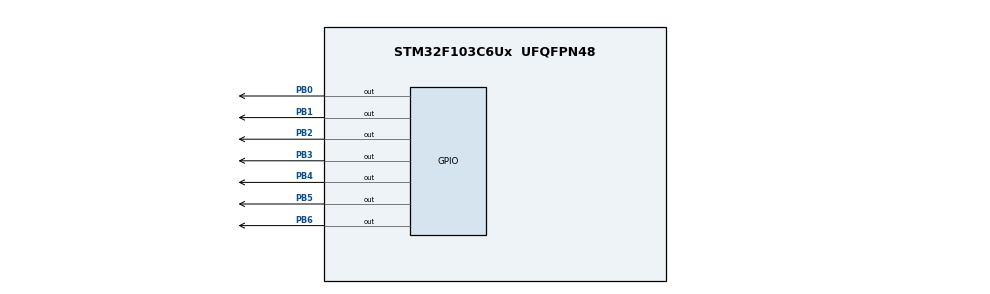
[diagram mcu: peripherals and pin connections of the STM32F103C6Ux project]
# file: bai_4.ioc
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Mcu.Family=STM32F1
Mcu.Name=STM32F103C6Ux
Mcu.Package=UFQFPN48
NVIC.PriorityGroup=NVIC_PRIORITYGROUP_4
PB0.Signal=GPIO_Output
PB1.Signal=GPIO_Output
PB2.Signal=GPIO_Output
PB3.Signal=GPIO_Output
PB4.Signal=GPIO_Output
PB5.Signal=GPIO_Output
PB6.Signal=GPIO_Output
ProjectManager.HeapSize=0x200
ProjectManager.StackSize=0x400
ProjectManager.TargetToolchain=STM32CubeIDE
RCC.APB1Freq_Value=8000000
RCC.APB2Freq_Value=8000000
VP_SYS_VS_ND.Mode=No_Debug
board=custom

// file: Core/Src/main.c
/* USER CODE BEGIN Header */
/**
  ******************************************************************************
  * @file           : main.c
  * @brief          : Main program body
  ******************************************************************************
  * @attention
  *
  * <h2><center>&copy; Copyright (c) 2024 STMicroelectronics.
  * All rights reserved.</center></h2>
  *
  * This software component is licensed by ST under BSD 3-Clause license,
  * the "License"; You may not use this file except in compliance with the
  * License. You may obtain a copy of the License at:
  *                        opensource.org/licenses/BSD-3-Clause
  *
  ******************************************************************************
  */
/* USER CODE END Header */
#include "main.h"

void SystemClock_Config(void);
static void MX_GPIO_Init(void);

int main(void)
{

  /* MCU Configuration--------------------------------------------------------*/

  /* Reset of all peripherals, Initializes the Flash interface and the Systick. */
  HAL_Init();

  /* Configure the system clock */
  SystemClock_Config();

  /* Initialize all configured peripherals */
  MX_GPIO_Init();

  /* Infinite loop */
  /* USER CODE BEGIN WHILE */
  int counter = 0;
     void display7SEG(int num)
     {
   	  if(num == 0)
   	  {
   		  HAL_GPIO_WritePin(GPIOB, GPIO_PIN_0, 0);
   		  HAL_GPIO_WritePin(GPIOB, GPIO_PIN_1, 0);
   		  HAL_GPIO_WritePin(GPIOB, GPIO_PIN_2, 0);
   		  HAL_GPIO_WritePin(GPIOB, GPIO_PIN_3, 0);
   		  HAL_GPIO_WritePin(GPIOB, GPIO_PIN_4, 0);
   		  HAL_GPIO_WritePin(GPIOB, GPIO_PIN_5, 0);
   		  HAL_GPIO_WritePin(GPIOB, GPIO_PIN_6, 1);
   	  }
   	  if(num == 1)
   	  {
   		  	  	  HAL_GPIO_WritePin(GPIOB, GPIO_PIN_0, 1);
   		 		  HAL_GPIO_WritePin(GPIOB, GPIO_PIN_1, 0);
   		 		  HAL_GPIO_WritePin(GPIOB, GPIO_PIN_2, 0);
   		 		  HAL_GPIO_WritePin(GPIOB, GPIO_PIN_3, 1);
   		 		  HAL_GPIO_WritePin(GPIOB, GPIO_PIN_4, 1);
   		 		  HAL_GPIO_WritePin(GPIOB, GPIO_PIN_5, 1);
   		 		  HAL_GPIO_WritePin(GPIOB, GPIO_PIN_6, 1);
   	  }
   	  if(num == 2)
   	  	  {
   	  		  HAL_GPIO_WritePin(GPIOB, GPIO_PIN_0, 0);
   	  		  HAL_GPIO_WritePin(GPIOB, GPIO_PIN_1, 0);
   	  		  HAL_GPIO_WritePin(GPIOB, GPIO_PIN_2, 1);
   	  		  HAL_GPIO_WritePin(GPIOB, GPIO_PIN_3, 0);
   	  		  HAL_GPIO_WritePin(GPIOB, GPIO_PIN_4, 0);
   	  		  HAL_GPIO_WritePin(GPIOB, GPIO_PIN_5, 1);
   	  		  HAL_GPIO_WritePin(GPIOB, GPIO_PIN_6, 0);
   	  	  }
   	  if(num == 3)
   	  	  {
   	  		  HAL_GPIO_WritePin(GPIOB, GPIO_PIN_0, 0);
   	  		  HAL_GPIO_WritePin(GPIOB, GPIO_PIN_1, 0);
   	  		  HAL_GPIO_WritePin(GPIOB, GPIO_PIN_2, 0);
   	  		  HAL_GPIO_WritePin(GPIOB, GPIO_PIN_3, 0);
   	  		  HAL_GPIO_WritePin(GPIOB, GPIO_PIN_4, 1);
   	  		  HAL_GPIO_WritePin(GPIOB, GPIO_PIN_5, 1);
   	  		  HAL_GPIO_WritePin(GPIOB, GPIO_PIN_6, 0);
   	  	  }
   	  if(num == 4)
   	  	  {
   	  		  HAL_GPIO_WritePin(GPIOB, GPIO_PIN_0, 1);
   	  		  HAL_GPIO_WritePin(GPIOB, GPIO_PIN_1, 0);
   	  		  HAL_GPIO_WritePin(GPIOB, GPIO_PIN_2, 0);
   	  		  HAL_GPIO_WritePin(GPIOB, GPIO_PIN_3, 1);
   	  		  HAL_GPIO_WritePin(GPIOB, GPIO_PIN_4, 1);
   	  		  HAL_GPIO_WritePin(GPIOB, GPIO_PIN_5, 0);
   	  		  HAL_GPIO_WritePin(GPIOB, GPIO_PIN_6, 0);
   	  	  }
   	  if(num == 5)
   	  	  {
   	  		  HAL_GPIO_WritePin(GPIOB, GPIO_PIN_0, 0);
   	  		  HAL_GPIO_WritePin(GPIOB, GPIO_PIN_1, 1);
   	  		  HAL_GPIO_WritePin(GPIOB, GPIO_PIN_2, 0);
   	  		  HAL_GPIO_WritePin(GPIOB, GPIO_PIN_3, 0);
   	  		  HAL_GPIO_WritePin(GPIOB, GPIO_PIN_4, 1);
   	  		  HAL_GPIO_WritePin(GPIOB, GPIO_PIN_5, 0);
   	  		  HAL_GPIO_WritePin(GPIOB, GPIO_PIN_6, 0);
   	  	  }
   	  if(num == 6)
   	  	  {
   	  		  HAL_GPIO_WritePin(GPIOB, GPIO_PIN_0, 0);
   	  		  HAL_GPIO_WritePin(GPIOB, GPIO_PIN_1, 1);
   	  		  HAL_GPIO_WritePin(GPIOB, GPIO_PIN_2, 0);
   	  		  HAL_GPIO_WritePin(GPIOB, GPIO_PIN_3, 0);
   	  		  HAL_GPIO_WritePin(GPIOB, GPIO_PIN_4, 0);
   	  		  HAL_GPIO_WritePin(GPIOB, GPIO_PIN_5, 0);
   	  		  HAL_GPIO_WritePin(GPIOB, GPIO_PIN_6, 0);
   	  	  }
   	  if(num == 7)
   	  	  {
   	  		  HAL_GPIO_WritePin(GPIOB, GPIO_PIN_0, 0);
   	  		  HAL_GPIO_WritePin(GPIOB, GPIO_PIN_1, 0);
   	  		  HAL_GPIO_WritePin(GPIOB, GPIO_PIN_2, 0);
   	  		  HAL_GPIO_WritePin(GPIOB, GPIO_PIN_3, 1);
   	  		  HAL_GPIO_WritePin(GPIOB, GPIO_PIN_4, 1);
   	  		  HAL_GPIO_WritePin(GPIOB, GPIO_PIN_5, 1);
   	  		  HAL_GPIO_WritePin(GPIOB, GPIO_PIN_6, 1);
   	  	  }
   	  if(num == 8)
   	  	  {
   	  		  HAL_GPIO_WritePin(GPIOB, GPIO_PIN_0, 0);
   	  		  HAL_GPIO_WritePin(GPIOB, GPIO_PIN_1, 0);
   	  		  HAL_GPIO_WritePin(GPIOB, GPIO_PIN_2, 0);
   	  		  HAL_GPIO_WritePin(GPIOB, GPIO_PIN_3, 0);
   	  		  HAL_GPIO_WritePin(GPIOB, GPIO_PIN_4, 0);
   	  		  HAL_GPIO_WritePin(GPIOB, GPIO_PIN_5, 0);
   	  		  HAL_GPIO_WritePin(GPIOB, GPIO_PIN_6, 0);
   	  	  }
   	  if(num == 9)
   	  	  {
   	  		  HAL_GPIO_WritePin(GPIOB, GPIO_PIN_0, 0);
   	  		  HAL_GPIO_WritePin(GPIOB, GPIO_PIN_1, 0);
   	  		  HAL_GPIO_WritePin(GPIOB, GPIO_PIN_2, 0);
   	  		  HAL_GPIO_WritePin(GPIOB, GPIO_PIN_3, 0);
   	  		  HAL_GPIO_WritePin(GPIOB, GPIO_PIN_4, 1);
   	  		  HAL_GPIO_WritePin(GPIOB, GPIO_PIN_5, 0);
   	  		  HAL_GPIO_WritePin(GPIOB, GPIO_PIN_6, 0);
   	  	  }
     }
  while (1)
  {
	  if( counter >= 10)
	  {
		  counter = 0;
	  }
	   display7SEG ( counter++);
	   HAL_Delay (1000);
    /* USER CODE END WHILE */

  }
}

void SystemClock_Config(void)
{
  RCC_OscInitTypeDef RCC_OscInitStruct = {0};
  RCC_ClkInitTypeDef RCC_ClkInitStruct = {0};

  /** Initializes the RCC Oscillators according to the specified parameters
  * in the RCC_OscInitTypeDef structure.
  */
  RCC_OscInitStruct.OscillatorType = RCC_OSCILLATORTYPE_HSI;
  RCC_OscInitStruct.HSIState = RCC_HSI_ON;
  RCC_OscInitStruct.HSICalibrationValue = RCC_HSICALIBRATION_DEFAULT;
  RCC_OscInitStruct.PLL.PLLState = RCC_PLL_NONE;
  if (HAL_RCC_OscConfig(&RCC_OscInitStruct) != HAL_OK)
  {
    Error_Handler();
  }
  /** Initializes the CPU, AHB and APB buses clocks
  */
  RCC_ClkInitStruct.ClockType = RCC_CLOCKTYPE_HCLK|RCC_CLOCKTYPE_SYSCLK
                              |RCC_CLOCKTYPE_PCLK1|RCC_CLOCKTYPE_PCLK2;
  RCC_ClkInitStruct.SYSCLKSource = RCC_SYSCLKSOURCE_HSI;
  RCC_ClkInitStruct.AHBCLKDivider = RCC_SYSCLK_DIV1;
  RCC_ClkInitStruct.APB1CLKDivider = RCC_HCLK_DIV1;
  RCC_ClkInitStruct.APB2CLKDivider = RCC_HCLK_DIV1;

  if (HAL_RCC_ClockConfig(&RCC_ClkInitStruct, FLASH_LATENCY_0) != HAL_OK)
  {
    Error_Handler();
  }
}

static void MX_GPIO_Init(void)
{
  GPIO_InitTypeDef GPIO_InitStruct = {0};

  /* GPIO Ports Clock Enable */
  __HAL_RCC_GPIOB_CLK_ENABLE();

  /*Configure GPIO pin Output Level */
  HAL_GPIO_WritePin(GPIOB, GPIO_PIN_0|GPIO_PIN_1|GPIO_PIN_2|GPIO_PIN_3
                          |GPIO_PIN_4|GPIO_PIN_5|GPIO_PIN_6, GPIO_PIN_RESET);

  /*Configure GPIO pins : PB0 PB1 PB2 PB3
                           PB4 PB5 PB6 */
  GPIO_InitStruct.Pin = GPIO_PIN_0|GPIO_PIN_1|GPIO_PIN_2|GPIO_PIN_3
                          |GPIO_PIN_4|GPIO_PIN_5|GPIO_PIN_6;
  GPIO_InitStruct.Mode = GPIO_MODE_OUTPUT_PP;
  GPIO_InitStruct.Pull = GPIO_NOPULL;
  GPIO_InitStruct.Speed = GPIO_SPEED_FREQ_LOW;
  HAL_GPIO_Init(GPIOB, &GPIO_InitStruct);

}

void Error_Handler(void)
{
  __disable_irq();
  while (1)
  {
  }
}

/************************ (C) COPYRIGHT STMicroelectronics *****END OF FILE****/
